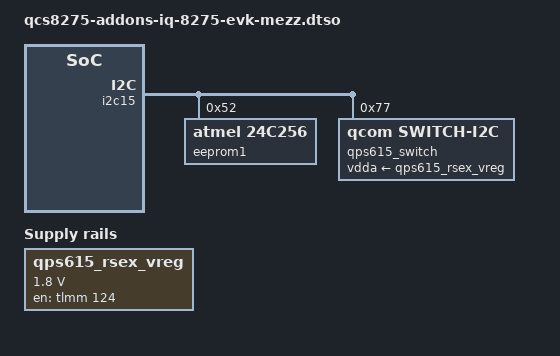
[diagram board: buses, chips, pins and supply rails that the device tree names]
// SPDX-License-Identifier: BSD-3-Clause
/*
 * Copyright (c) Qualcomm Technologies, Inc. and/or its subsidiaries.
 */

/dts-v1/;
/plugin/;

#include <dt-bindings/gpio/gpio.h>
#include <dt-bindings/interrupt-controller/irq.h>
#include "qcs8275-thermal-addons.dtsi"

&{/} {
	model = "Qualcomm Technologies, Inc. Addons IQ8-8275-evk Mezzanine";
	qcom,board-id = <0x00010020 1>, <0x00010019 1>;

	qps615_rsex_vreg: qps615-rsex-vreg {
		compatible = "regulator-fixed";
		regulator-name = "qps615_rsex_vreg";
		gpio = <&tlmm 124 GPIO_ACTIVE_HIGH>;
		regulator-min-microvolt = <1800000>;
		regulator-max-microvolt = <1800000>;
		enable-active-high;
		regulator-enable-ramp-delay = <10000>;
	};
};

&i2c15 {

	status = "okay";

	eeprom1: eeprom@52 {
		compatible = "atmel,24c256";
		reg = <0x52>;
		pagesize = <64>;

		nvmem-layout {
			compatible = "fixed-layout";
			#address-cells = <1>;
			#size-cells = <1>;

			mac_addr1: mac-addr@0 {
				reg = <0x0 0x6>;
			};

			mac_addr2: mac-addr@6 {
				reg = <0x6 0x6>;
			};
		};
	};

	qps615_switch: pcie-switch@77 {
		compatible = "qcom,switch-i2c";
		reg = <0x77>;
		vdda-supply = <&qps615_rsex_vreg>;

		status = "okay";
	};

};

&pcie0 {
	dummy-supply = <&qps615_switch>;
	iommu-map = <0x0 &apps_smmu 0x0000 0x1>,
	            <0x100 &pcie_smmu 0x0001 0x1>,
	            <0x208 &pcie_smmu 0x0002 0x1>,
	            <0x210 &pcie_smmu 0x0003 0x1>,
	            <0x218 &pcie_smmu 0x0004 0x1>,
	            <0x300 &pcie_smmu 0x0005 0x1>,
	            <0x400 &pcie_smmu 0x0006 0x1>,
	            <0x500 &pcie_smmu 0x0007 0x1>,
	            <0x501 &pcie_smmu 0x0008 0x1>;

	pcieport0: pcie@0 {
		device_type = "pci";
		reg = <0x0 0x0 0x0 0x0 0x0>;
		#address-cells = <5>;
		#size-cells = <0>;

		wake-gpios = <&tlmm 0 GPIO_ACTIVE_HIGH>;

		/* BDF 1.0.0 */
		pcie0_bus1_dev0_fn0: pcie0_bus1_dev0_fn0 {
			reg = <0 0 0 0 0>;

			/* BDF 2.1.0 */
			pcie0_bus2_dev1_fn0: pcie0_bus2_dev1_fn0 {
				reg = <0x800 0x0 0x0 0x0 0x0>;

				/* BDF 3.0.0 */
				pcie0_bus3_dev0_fn0: pcie0_bus3_dev0_fn0 {
					reg = <0x0 0x0 0x0 0x0 0x0>;
				};
			};

			/* BDF 2.2.0 */
			pcie0_bus2_dev2_fn0: pcie0_bus2_dev2_fn0 {
				reg = <0x1000 0x0 0x0 0x0 0x0>;

				/* BDF 4.0.0 */
				pcie0_bus4_dev0_fn0: pcie0_bus4_dev0_fn0 {
					reg = <0x0 0x0 0x0 0x0 0x0>;
				};
			};

			/* BDF 2.3.0 */
			pcie0_bus2_dev3_fn0: pcie0_bus2_dev3_fn0 {
				reg = <0x1800 0x0 0x0 0x0 0x0>;
				qps615_eth0,qps615_eth0@pcie0_rp {
					reg = <0x0 0x0 0x0 0x0 0x0>;
				};

				/* BDF 5.0.0 */
				pcie0_bus5_dev0_fn0: pcie0_qps_eth0 {
					reg = <0x0 0x0 0x0 0x0 0x0>;
					nvmem-cells = <&mac_addr1>;
					nvmem-cell-names = "mac-address";
					pinctrl-names = "default";
					pinctrl-0 = <&aqr_intn_wol_sig>;
					phy-rst-som-gpios = <&tlmm 10 GPIO_ACTIVE_HIGH>;
					interrupts-extended = <&tlmm 40 IRQ_TYPE_EDGE_FALLING>;
					interrupt-names = "wol_irq";
					qcom,always-on-supply;
					qcom,phy-rst-delay-us = <221000>;
					#address-cells = <1>;
					#size-cells = <1>;

					qcom,iommu-group = <&eth0_pci_iommu_group>;
					eth0_pci_iommu_group: eth0_pci_iommu_group {
						qcom,iommu-dma = "atomic";
					};
				};

				qps615_eth1,qps615_eth1@pcie0_rp {
					reg = <0x100 0x0 0x0 0x0 0x0>;
				};

				/* BDF 5.0.1 */
				pcie0_bus5_dev0_fn1: pcie0_qps_eth1 {
					reg = <0x100 0x0 0x0 0x0 0x0>;
					nvmem-cells = <&mac_addr2>;
					nvmem-cell-names = "mac-address";
					pinctrl-names = "default";
					pinctrl-0 = <&napa_intn_wol_sig>;
					phy-rst-som-gpios = <&expander5 0 GPIO_ACTIVE_HIGH>;
					interrupts-extended = <&tlmm 39 IRQ_TYPE_EDGE_FALLING>;
					interrupt-names = "wol_irq";
					qcom,always-on-supply;
					qcom,phy-rst-delay-us = <20000>;
					#address-cells = <1>;
					#size-cells = <1>;

					qcom,iommu-group = <&eth1_pci_iommu_group>;
					eth1_pci_iommu_group: eth1_pci_iommu_group {
						qcom,iommu-dma = "atomic";
					};
				};
			};
		};
	};
};

&tlmm {
	qps615_intn_wol {
		aqr_intn_wol_sig: aqr-intn-wol-sig {
				pins = "gpio40";
				function = "gpio";
				input-enable;
				bias-disable;
		};

		napa_intn_wol_sig: napa-intn-wol-sig {
				pins = "gpio39";
				function = "gpio";
				input-enable;
				bias-disable;
		};
	};
};
